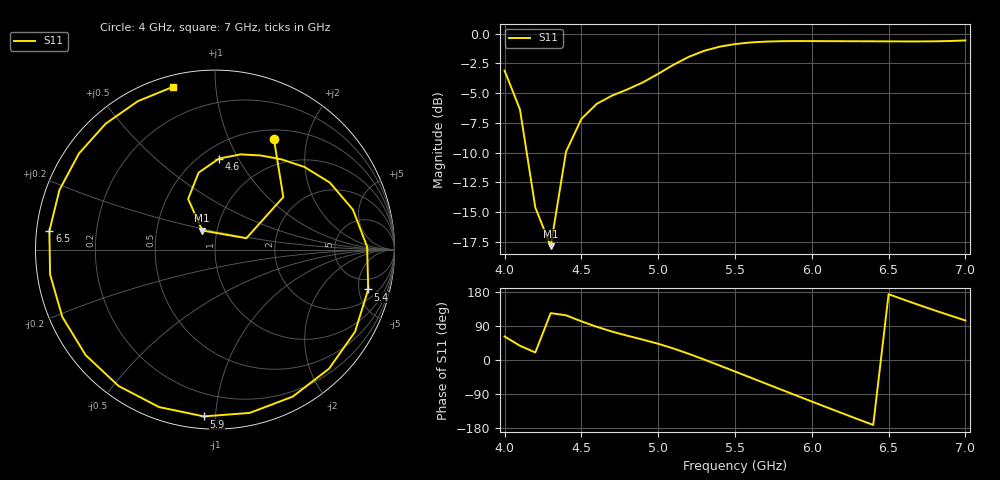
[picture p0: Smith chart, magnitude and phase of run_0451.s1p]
! Touchstone file exported from HFSS 2024.2.0
!  File:  C:/Users/wsak9/Desktop/Sim Fast/Widenad Patch/WP_AI_V1_sweep.aedt
!  Generated:  10:37:27 AM Oct 14, 2026
!  Design:  A1_model
!  Project:  WP_AI_V1_sweep
!  Setup:  Setup1
!  Solution:  Sweep
! Variables:
!  Air_gap = 3.85mm
!  Curve_Amp1 = 0.55
!  Curve_len1 = 1
!  Curve_pos = 13.015mm
!  Extra = 4.63mm
!  H_sub = 0.79mm
!  L_Patch = 22.03mm
!  L_Patch1 = 18.84mm
!  Sx = 4.35mm
!  Sy = 2.59mm
!  WS = 0.87mm
!  W_Patch = 20.61mm
!  W_Patch1 = 14.21mm
!Data is not renormalized
# GHz S MA
! Terminal data exported
! Port[1] = 1
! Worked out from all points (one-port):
!   31 points, 4 GHz to 7 GHz, reference per port
!   lowest |S11| = -17.9 dB at 4.3 GHz (marker M1), VSWR 1.29
!   |S11| at or under -10 dB: 4.144 GHz to 4.399 GHz (254.9 MHz wide, 5.97 % of centre)
!   S11 on the Smith chart (normalised r, x): 4 GHz: 0.61, +1.48; 4.6 GHz: 0.61, +0.84; 5.4 GHz: 3.14, -6.28; 5.9 GHz: 0.07, -0.93; 6.5 GHz: 0.04, +0.06; 7 GHz: 0.05, +0.78
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4  0.6992 62.0
4.1  0.4802 37.6
4.2  0.1858 19.9
4.3  0.1279 123.7
4.4  0.3193 117.9
4.5  0.4384 102.0
4.6  0.5074 87.5
4.8  0.5835 64.0
5  0.6783 42.8
5.1  0.7407 30.3
5.2  0.8 16.2
5.3  0.8478 1.0
5.4  0.882 -14.6
5.5  0.9047 -30.4
5.6  0.9187 -46.3
5.7  0.9265 -62.1
5.8  0.9302 -78.0
5.9  0.9314 -93.8
6  0.9311 -109.6
6.1  0.9306 -125.2
6.2  0.9302 -140.8
6.3  0.9297 -156.2
6.4  0.9292 -171.4
6.5  0.9286 173.6
6.6  0.9281 159.0
6.7  0.9281 144.8
6.9  0.9319 117.5
7  0.9369 104.3
